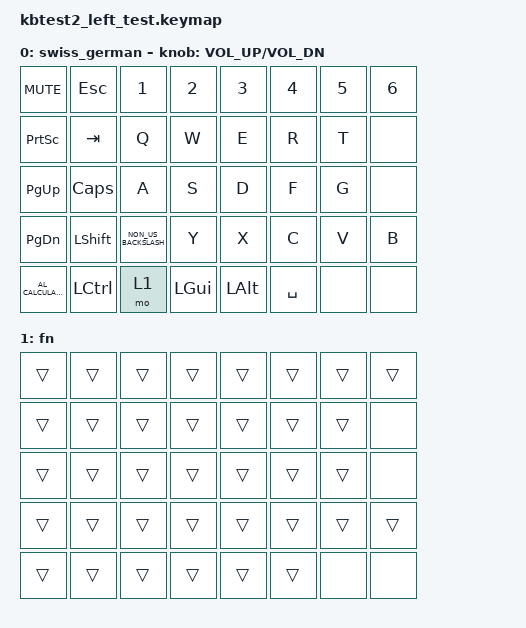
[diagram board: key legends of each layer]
#include <behaviors.dtsi>
#include <dt-bindings/zmk/keys.h>

/ {
    keymap {
        compatible = "zmk,keymap";

        swiss_german {
            // Windows Swiss German maps the HID Y position to Z.
            bindings = <
                &kp C_MUTE  &kp ESC  &kp N1  &kp N2  &kp N3  &kp N4  &kp N5  &kp N6
                &kp PRINTSCREEN  &kp TAB  &kp Q  &kp W  &kp E  &kp R  &kp T  &none
                &kp PG_UP  &kp CAPSLOCK  &kp A  &kp S  &kp D  &kp F  &kp G  &none
                &kp PG_DN  &kp LSHIFT  &kp NON_US_BACKSLASH  &kp Y  &kp X  &kp C  &kp V  &kp B
                &kp C_AL_CALCULATOR  &kp LCTRL  &mo 1  &kp LGUI  &kp LALT  &kp SPACE  &none  &none
            >;
            sensor-bindings = <&inc_dec_kp C_VOL_UP C_VOL_DN>;
        };

        fn {
            bindings = <
                &trans &trans &trans &trans &trans &trans &trans &trans
                &trans &trans &trans &trans &trans &trans &trans &none
                &trans &trans &trans &trans &trans &trans &trans &none
                &trans &trans &trans &trans &trans &trans &trans &trans
                &trans &trans &trans &trans &trans &trans &none &none
            >;
        };
    };
};
